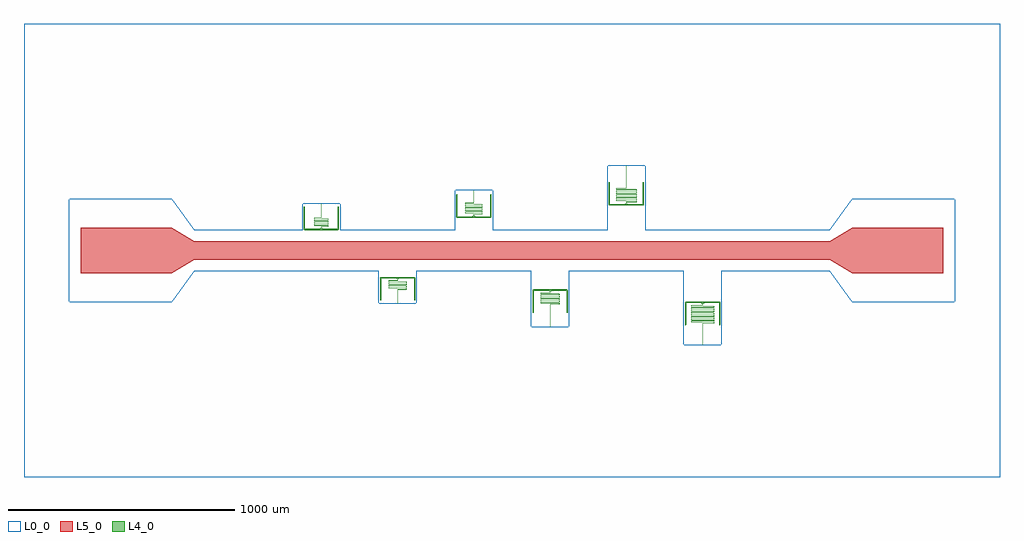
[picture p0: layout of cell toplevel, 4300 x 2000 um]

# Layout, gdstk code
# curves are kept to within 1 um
import gdstk
lib = gdstk.Library(unit=1e-6, precision=1e-09)
def P(c, l, *ps):  # polygons
    for p in ps: c.add(gdstk.Polygon(p, *l))
L0_0 = (0, 0)
L4_0 = (4, 0)
L5_0 = (5, 0)

toplevel = lib.new_cell('toplevel')
P(toplevel, L0_0, [(2150,1000),(-2150,1000),(-2150,-225),(-1950,-225),(-1950,225),(-1500,225),(-1400,90),(-922.5,90),(-922.5,205),(-757.5,205),(-757.5,90),(-250.5,90),(-250.5,264.4),(-85.5,264.4),(-85.5,90),(421.5,90),(421.5,373.8),(586.5,373.8),(586.5,90),(1400,90),(1500,225),(1950,225),(1950,-225),(1500,-225),(1400,-90),(922.5,-90),(922.5,-416),(757.5,-416),(757.5,-90),(250.5,-90),(250.5,-336.6),(85.5,-336.6),(85.5,-90),(-421.5,-90),(-421.5,-232.2),(-586.5,-232.2),(-586.5,-90),(-1400,-90),(-1500,-225),(-2150,-225),(-2150,-1000),(2150,-1000)])
P(toplevel, L4_0, [(-839.7,103.825),(-839.566,104.436),(-839.02,104.599),(-809.78,104.61),(-808.933,105.03),(-808.7,106.001),(-808.75,109.368),(-809.13,109.967),(-809.828,110.193),(-869.888,110.2),(-870.646,110.505),(-870.689,114.097),(-870.127,114.595),(-809.923,114.602),(-808.79,115.301),(-808.738,119.316),(-809.1,119.944),(-809.81,120.192),(-869.888,120.2),(-870.644,120.498),(-870.682,124.151),(-870.145,124.594),(-809.946,124.601),(-808.797,125.281),(-808.733,129.29),(-809.058,129.908),(-809.816,130.192),(-869.95,130.2),(-870.64,130.489),(-870.687,134.11),(-870.15,134.593),(-810.008,134.6),(-808.81,135.248),(-808.736,139.303),(-809.082,139.929),(-809.786,140.19),(-869.95,140.2),(-870.632,140.47),(-870.691,144.076),(-870.247,144.582),(-840.963,144.601),(-839.834,145.196),(-839.7,204.9),(-840.3,204.9),(-840.375,145.455),(-841.02,145.2),(-870.364,145.171),(-871.272,144.258),(-871.178,140.222),(-869.986,139.6),(-809.85,139.593),(-809.312,139.106),(-809.364,135.479),(-810.05,135.2),(-870.214,135.19),(-870.918,134.929),(-871.263,134.309),(-871.198,130.268),(-870.763,129.764),(-869.992,129.6),(-809.864,129.594),(-809.31,129.089),(-809.365,125.476),(-809.985,125.201),(-870.19,125.192),(-870.918,124.929),(-871.264,124.303),(-871.208,120.294),(-870.077,119.602),(-809.855,119.594),(-809.309,119.076),(-809.356,115.498),(-810.112,115.2),(-870.22,115.189),(-870.912,114.934),(-871.265,114.296),(-871.232,110.367),(-870.814,109.794),(-870.077,109.602),(-809.824,109.591),(-809.315,109.127),(-809.308,105.728),(-809.985,105.201),(-839.481,105.146),(-840.278,104.22),(-840.3,99.9),(-850,95),(-910.62,95),(-912.27,95.279),(-912.5,96.9),(-912.502,190.109),(-912.952,191.434),(-914.043,192.31),(-915.326,192.479),(-916.607,191.915),(-917.266,191.056),(-917.5,190),(-917.475,95.954),(-916.915,93.4),(-915.563,91.507),(-913.447,90.346),(-910.644,90),(-769.356,90),(-766.888,90.253),(-764.934,91.118),(-763.131,93.296),(-762.504,96.513),(-762.5,190),(-763.085,191.607),(-764.353,192.415),(-765.752,192.384),(-766.983,191.522),(-767.498,190.109),(-767.5,96.88),(-767.751,95.251),(-769.38,95),(-830,95),(-839.7,99.9)],
  [(-504.302,-131.177),(-504.443,-131.646),(-504.919,-131.797),(-542.377,-131.831),(-543.085,-132.255),(-543.3,-133.158),(-543.267,-136.49),(-542.965,-137.087),(-542.39,-137.367),(-466.01,-137.4),(-465.432,-137.566),(-465.3,-138.222),(-465.32,-141.359),(-465.891,-141.796),(-541.981,-141.8),(-542.75,-141.957),(-543.19,-142.448),(-543.261,-146.516),(-542.9,-147.144),(-542.172,-147.393),(-466.06,-147.4),(-465.367,-147.673),(-465.313,-151.314),(-465.877,-151.795),(-541.975,-151.8),(-542.73,-151.947),(-543.172,-152.409),(-543.263,-156.509),(-542.906,-157.139),(-542.172,-157.393),(-466.06,-157.4),(-465.376,-157.652),(-465.313,-161.31),(-465.877,-161.795),(-541.97,-161.8),(-543.15,-162.363),(-543.265,-166.496),(-542.912,-167.134),(-542.178,-167.393),(-466.065,-167.4),(-465.388,-167.629),(-465.309,-171.28),(-465.79,-171.787),(-503.003,-171.8),(-504.117,-172.305),(-504.3,-232.1),(-503.7,-232.1),(-503.606,-172.618),(-502.96,-172.4),(-465.693,-172.38),(-465.041,-172.092),(-464.728,-171.458),(-464.864,-167.337),(-466.03,-166.8),(-542.123,-166.795),(-542.687,-166.31),(-542.618,-162.64),(-541.935,-162.4),(-465.828,-162.393),(-465.093,-162.139),(-464.736,-161.503),(-464.837,-157.389),(-466.025,-156.8),(-542.123,-156.795),(-542.687,-156.31),(-542.628,-152.661),(-541.94,-152.4),(-465.828,-152.393),(-465.099,-152.144),(-464.738,-151.516),(-464.816,-147.435),(-465.263,-146.95),(-466.025,-146.8),(-542.123,-146.795),(-542.687,-146.314),(-542.636,-142.679),(-541.94,-142.4),(-465.852,-142.395),(-465.136,-142.172),(-464.736,-141.503),(-464.8,-137.475),(-465.218,-136.975),(-465.969,-136.801),(-542.167,-136.792),(-542.685,-136.327),(-542.694,-132.955),(-542.548,-132.544),(-542.077,-132.402),(-504.584,-132.362),(-503.986,-132.036),(-503.726,-131.445),(-503.7,-127.1),(-494,-122.2),(-433.38,-122.2),(-431.73,-122.479),(-431.5,-124.08),(-431.498,-217.309),(-431.048,-218.634),(-429.957,-219.51),(-428.674,-219.679),(-427.393,-219.115),(-426.734,-218.256),(-426.5,-217.2),(-426.525,-123.154),(-427.1,-120.565),(-428.437,-118.707),(-430.552,-117.546),(-433.356,-117.2),(-574.644,-117.2),(-577.112,-117.453),(-579.066,-118.318),(-580.853,-120.461),(-581.496,-123.713),(-581.5,-217.2),(-580.915,-218.807),(-579.647,-219.615),(-578.248,-219.584),(-577.017,-218.722),(-576.502,-217.309),(-576.5,-124.08),(-576.254,-122.457),(-574.62,-122.2),(-514,-122.2),(-504.3,-127.1)],
  [(-167.7,158.23),(-167.559,158.844),(-167.005,158.999),(-131.316,159.007),(-130.461,159.393),(-130.2,160.401),(-130.257,163.794),(-130.624,164.362),(-131.358,164.595),(-204.388,164.6),(-205.148,164.912),(-205.184,168.539),(-204.654,168.993),(-131.463,169.001),(-130.718,169.175),(-130.3,169.675),(-130.236,173.703),(-130.57,174.319),(-131.346,174.594),(-204.445,174.6),(-205.139,174.886),(-205.187,178.514),(-204.627,178.995),(-131.519,179),(-130.75,179.157),(-130.31,179.648),(-130.238,183.716),(-130.593,184.339),(-131.322,184.593),(-204.44,184.6),(-205.132,184.87),(-205.187,188.51),(-204.627,188.995),(-131.525,189),(-130.776,189.143),(-130.331,189.602),(-130.236,193.703),(-130.593,194.339),(-131.322,194.593),(-204.44,194.6),(-205.121,194.846),(-205.187,198.51),(-204.627,198.995),(-131.53,199),(-130.357,199.55),(-130.235,203.696),(-130.587,204.334),(-131.316,204.592),(-204.435,204.6),(-205.109,204.824),(-205.191,208.476),(-204.714,208.987),(-168.991,209.001),(-167.89,209.492),(-167.7,264.3),(-168.3,264.3),(-168.399,209.811),(-169.04,209.6),(-204.82,209.578),(-205.47,209.282),(-205.774,208.645),(-205.629,204.524),(-204.47,204),(-131.373,203.995),(-130.812,203.506),(-130.885,199.835),(-131.56,199.6),(-204.684,199.592),(-205.412,199.334),(-205.765,198.696),(-205.657,194.576),(-205.211,194.137),(-204.475,194),(-131.373,193.995),(-130.813,193.51),(-130.873,189.858),(-131.56,189.6),(-204.678,189.593),(-205.406,189.339),(-205.763,188.709),(-205.681,184.628),(-205.237,184.15),(-204.481,184),(-131.373,183.995),(-130.813,183.514),(-130.864,179.879),(-131.555,179.6),(-204.678,179.593),(-205.406,179.339),(-205.762,178.716),(-205.695,174.661),(-205.256,174.16),(-204.481,174),(-131.386,173.996),(-130.819,173.555),(-130.855,169.902),(-131.505,169.6),(-204.653,169.594),(-205.394,169.348),(-205.765,168.696),(-205.708,164.694),(-205.224,164.143),(-204.388,164),(-131.346,163.993),(-130.944,163.848),(-130.801,163.344),(-130.808,160.128),(-131.172,159.634),(-167.428,159.559),(-168.019,159.23),(-168.275,158.639),(-168.3,154.3),(-178,149.4),(-238.62,149.4),(-240.243,149.646),(-240.5,151.3),(-240.502,244.509),(-240.952,245.834),(-242.043,246.71),(-243.326,246.879),(-244.607,246.315),(-245.266,245.456),(-245.5,244.4),(-245.475,150.354),(-244.915,147.8),(-243.563,145.907),(-241.447,144.746),(-238.644,144.4),(-97.356,144.4),(-94.888,144.653),(-92.934,145.518),(-91.923,146.434),(-91.131,147.696),(-90.503,150.963),(-90.5,244.4),(-91.085,246.007),(-92.353,246.815),(-93.752,246.784),(-94.983,245.922),(-95.498,244.509),(-95.5,151.28),(-95.751,149.651),(-97.38,149.4),(-158,149.4),(-167.7,154.3)],
  [(167.697,-185.577),(167.527,-186.074),(166.899,-186.2),(127.699,-186.219),(126.961,-186.593),(126.701,-187.48),(126.729,-190.864),(127.007,-191.459),(127.493,-191.74),(208.091,-191.803),(208.544,-191.941),(208.695,-192.368),(208.695,-195.623),(208.427,-196.133),(127.876,-196.204),(127.082,-196.471),(126.715,-197.23),(126.725,-200.839),(127.296,-201.666),(208.114,-201.804),(208.548,-201.944),(208.689,-202.307),(208.494,-206.098),(127.876,-206.204),(127.058,-206.491),(126.717,-207.218),(126.712,-210.738),(127.142,-211.576),(128.111,-211.8),(208.114,-211.804),(208.688,-212.298),(208.53,-216.072),(127.882,-216.204),(127.099,-216.456),(126.731,-217.123),(126.704,-220.624),(127.013,-221.465),(128.111,-221.8),(208.109,-221.804),(208.687,-222.286),(208.559,-226.044),(127.888,-226.203),(127.148,-226.42),(126.75,-227.032),(126.7,-230.497),(127.013,-231.465),(127.957,-231.799),(207.94,-231.8),(208.644,-232.098),(208.689,-235.693),(208.206,-236.188),(168.98,-236.201),(168.231,-236.368),(167.8,-236.875),(167.7,-336.5),(168.3,-336.5),(168.359,-237.092),(169.03,-236.8),(208.294,-236.781),(208.948,-236.503),(209.267,-235.89),(209.205,-231.888),(208.763,-231.364),(207.981,-231.2),(127.882,-231.195),(127.314,-230.718),(127.353,-227.108),(128.055,-226.8),(208.165,-226.794),(208.894,-226.548),(209.259,-225.928),(209.217,-221.921),(208.782,-221.375),(207.981,-221.2),(127.882,-221.195),(127.314,-220.723),(127.348,-217.122),(128.055,-216.8),(208.165,-216.794),(208.894,-216.548),(209.257,-215.935),(209.226,-211.947),(208.788,-211.379),(207.981,-211.2),(127.882,-211.196),(127.314,-210.723),(127.344,-207.136),(128.055,-206.8),(208.165,-206.794),(208.894,-206.548),(209.257,-205.935),(209.234,-201.973),(208.801,-201.387),(207.986,-201.2),(127.882,-201.196),(127.315,-200.727),(127.341,-197.146),(128.055,-196.8),(208.13,-196.796),(208.882,-196.558),(209.257,-195.935),(209.24,-191.993),(208.858,-191.424),(208.031,-191.201),(127.868,-191.195),(127.313,-190.714),(127.378,-187.049),(128.106,-186.8),(167.396,-186.765),(168.008,-186.442),(168.273,-185.851),(168.3,-181.5),(178,-176.6),(238.62,-176.6),(240.243,-176.846),(240.5,-178.5),(240.502,-271.709),(240.734,-272.656),(241.311,-273.443),(242.145,-273.949),(243.109,-274.098),(244.768,-273.368),(245.498,-271.709),(245.5,-178.48),(245.154,-175.652),(243.964,-173.505),(242.031,-172.156),(239.327,-171.614),(97.356,-171.6),(95.02,-171.821),(93.07,-172.627),(91.923,-173.634),(91.147,-174.861),(90.505,-178.062),(90.5,-271.6),(90.69,-272.557),(91.311,-273.443),(92.248,-273.984),(93.218,-274.09),(94.768,-273.368),(95.498,-271.709),(95.5,-178.48),(95.751,-176.851),(97.38,-176.6),(158,-176.6),(167.7,-181.5)],
  [(504.3,212.63),(504.421,213.221),(504.933,213.398),(548.332,213.424),(549.058,213.818),(549.299,214.68),(549.269,218.077),(549.024,218.624),(548.474,218.948),(459.919,219.003),(459.458,219.139),(459.306,219.564),(459.305,222.823),(459.573,223.333),(548.118,223.404),(548.948,223.697),(549.29,224.486),(549.274,228.045),(548.652,228.89),(459.886,229.004),(459.452,229.144),(459.311,229.503),(459.304,232.804),(459.508,233.299),(548.118,233.404),(548.936,233.686),(549.282,234.412),(549.287,237.945),(548.852,238.78),(547.888,239),(459.891,239.004),(459.458,239.139),(459.312,239.494),(459.472,243.274),(548.112,243.403),(548.894,243.652),(549.269,244.323),(549.288,247.938),(548.953,248.698),(547.888,249),(459.896,249.004),(459.464,249.133),(459.314,249.482),(459.443,253.246),(548.106,253.403),(548.912,253.666),(549.264,254.297),(549.296,257.824),(549.019,258.63),(547.888,259),(459.896,259.004),(459.47,259.128),(459.315,259.473),(459.416,263.214),(460.117,263.4),(548.106,263.403),(548.833,263.607),(549.241,264.2),(549.299,267.697),(548.987,268.665),(548.037,268.999),(460.065,269),(459.363,269.282),(459.311,272.893),(459.807,273.389),(503.008,273.401),(503.75,273.557),(504.184,274.035),(504.3,373.7),(503.7,373.7),(503.633,274.273),(502.96,274),(459.724,273.984),(459.058,273.708),(458.733,273.09),(458.808,269.055),(459.25,268.557),(460.03,268.4),(548.104,268.396),(548.528,268.274),(548.686,267.923),(548.641,264.292),(547.94,264),(459.846,263.994),(459.105,263.748),(458.741,263.128),(458.795,259.088),(459.237,258.564),(460.025,258.4),(548.109,258.396),(548.528,258.274),(548.686,257.923),(548.646,254.305),(547.94,254),(459.846,253.994),(459.105,253.748),(458.741,253.128),(458.785,249.114),(459.224,248.571),(460.025,248.4),(548.109,248.396),(548.528,248.274),(548.686,247.923),(548.651,244.318),(547.94,244),(459.852,243.995),(459.112,243.753),(458.743,243.135),(458.776,239.14),(459.211,238.579),(460.025,238.4),(548.109,238.396),(548.528,238.274),(548.685,237.927),(548.655,234.332),(547.94,234),(459.852,233.995),(459.112,233.753),(458.744,233.141),(458.768,229.167),(459.199,228.587),(460.019,228.4),(548.109,228.396),(548.528,228.274),(548.685,227.927),(548.657,224.339),(547.945,224),(459.882,223.996),(459.118,223.758),(458.743,223.135),(458.762,219.187),(459.186,218.594),(459.98,218.401),(548.063,218.398),(548.528,218.274),(548.686,217.918),(548.622,214.249),(547.894,214),(504.571,213.959),(504.002,213.653),(503.728,213.058),(503.7,208.7),(494,203.8),(433.38,203.8),(431.765,204.04),(431.5,205.68),(431.498,298.909),(431.266,299.856),(430.689,300.643),(429.855,301.149),(428.891,301.298),(427.943,301.066),(427.232,300.568),(426.69,299.757),(426.502,298.909),(426.5,205.656),(426.846,202.852),(428.007,200.737),(429.935,199.37),(432.673,198.814),(574.644,198.8),(576.98,199.021),(578.895,199.805),(579.964,200.705),(580.82,201.992),(581.321,203.515),(581.493,205.185),(581.5,298.8),(581.31,299.757),(580.689,300.643),(579.752,301.184),(578.782,301.29),(577.232,300.568),(576.69,299.757),(576.502,298.909),(576.5,205.68),(576.254,204.057),(574.62,203.8),(514,203.8),(504.3,208.7)],
  [(839.697,-239.981),(839.548,-240.455),(839.058,-240.598),(790.693,-240.62),(789.956,-240.999),(789.701,-241.863),(789.731,-245.277),(790.029,-245.882),(790.604,-246.165),(889.091,-246.203),(889.544,-246.341),(889.695,-246.768),(889.692,-250.063),(889.375,-250.553),(790.894,-250.603),(790.029,-250.918),(789.712,-251.668),(789.726,-255.245),(789.961,-255.806),(790.388,-256.105),(889.109,-256.204),(889.546,-256.343),(889.697,-256.805),(889.696,-260.009),(889.445,-260.525),(790.888,-260.603),(790.064,-260.886),(789.718,-261.612),(789.713,-265.145),(790.192,-266.01),(791.117,-266.2),(889.109,-266.204),(889.542,-266.339),(889.688,-266.694),(889.696,-270.009),(889.523,-270.477),(790.894,-270.603),(790.07,-270.881),(789.72,-271.593),(789.713,-275.145),(790.082,-275.929),(791.117,-276.2),(889.104,-276.204),(889.538,-276.335),(889.687,-276.686),(889.556,-280.448),(888.883,-280.6),(790.894,-280.603),(790.082,-280.871),(789.723,-281.574),(789.704,-285.024),(790.018,-285.87),(791.117,-286.2),(889.1,-286.204),(889.532,-286.33),(889.686,-286.677),(889.556,-290.448),(888.883,-290.6),(790.9,-290.603),(790.1,-290.856),(789.727,-291.549),(789.704,-295.024),(789.956,-295.8),(790.44,-296.124),(791.117,-296.2),(889.095,-296.203),(889.523,-296.323),(889.69,-296.711),(889.582,-300.416),(888.883,-300.6),(790.792,-300.609),(790.047,-300.902),(789.73,-301.529),(789.704,-305.024),(789.928,-305.764),(790.394,-306.108),(791.117,-306.2),(889.095,-306.203),(889.546,-306.343),(889.689,-306.707),(889.607,-310.379),(888.883,-310.6),(790.911,-310.602),(790.199,-310.787),(789.772,-311.354),(789.7,-314.892),(790.013,-315.865),(790.974,-316.199),(888.93,-316.2),(889.625,-316.455),(889.689,-320.093),(889.548,-320.455),(889.176,-320.591),(841.003,-320.6),(840.283,-320.74),(839.843,-321.176),(839.7,-321.979),(839.7,-415.9),(840.3,-415.9),(840.379,-321.446),(841.045,-321.2),(889.251,-321.187),(889.936,-320.914),(890.268,-320.283),(890.166,-316.196),(889.717,-315.74),(888.964,-315.6),(790.905,-315.597),(790.472,-315.474),(790.314,-315.118),(790.371,-311.464),(791.065,-311.2),(889.136,-311.195),(889.888,-310.953),(890.26,-310.322),(890.181,-306.228),(889.73,-305.747),(888.964,-305.6),(790.905,-305.597),(790.475,-305.475),(790.314,-305.123),(790.364,-301.479),(791.065,-301.2),(889.136,-301.195),(889.888,-300.953),(890.259,-300.328),(890.195,-296.261),(889.75,-295.757),(888.97,-295.6),(790.905,-295.597),(790.475,-295.475),(790.315,-295.127),(790.358,-291.495),(791.065,-291.2),(889.136,-291.195),(889.882,-290.958),(890.257,-290.335),(890.208,-286.294),(889.763,-285.764),(888.97,-285.6),(790.905,-285.597),(790.475,-285.475),(790.315,-285.127),(790.353,-281.508),(791.065,-281.2),(889.136,-281.195),(889.882,-280.958),(890.257,-280.335),(890.215,-276.314),(889.776,-275.771),(888.97,-275.6),(790.905,-275.597),(790.475,-275.475),(790.315,-275.127),(790.349,-271.518),(790.567,-271.269),(791.06,-271.2),(889.136,-271.195),(889.882,-270.958),(890.256,-270.341),(890.224,-266.34),(889.782,-265.775),(888.97,-265.6),(790.905,-265.597),(790.477,-265.477),(790.315,-265.131),(790.345,-261.532),(790.561,-261.272),(791.06,-261.2),(889.136,-261.195),(889.882,-260.958),(890.256,-260.341),(890.23,-256.36),(889.795,-255.783),(888.975,-255.6),(790.914,-255.597),(790.488,-255.486),(790.32,-255.163),(790.345,-251.532),(790.558,-251.273),(791.025,-251.2),(889.196,-251.192),(889.882,-250.958),(890.256,-250.341),(890.243,-246.406),(889.845,-245.815),(889.031,-245.601),(790.937,-245.598),(790.47,-245.472),(790.314,-245.118),(790.359,-241.492),(791.106,-241.2),(839.403,-241.164),(839.987,-240.865),(840.271,-240.264),(840.3,-235.9),(850,-231),(910.62,-231),(912.218,-231.228),(912.5,-232.9),(912.502,-326.109),(912.734,-327.056),(913.311,-327.843),(914.145,-328.349),(915.109,-328.498),(915.957,-328.31),(916.768,-327.768),(917.31,-326.957),(917.498,-326.109),(917.5,-232.88),(917.154,-230.052),(916.678,-228.915),(915.964,-227.905),(914.031,-226.556),(911.327,-226.014),(769.356,-226),(767.02,-226.221),(765.07,-227.027),(763.923,-228.034),(763.147,-229.261),(762.679,-230.715),(762.505,-232.462),(762.5,-326),(762.69,-326.957),(763.311,-327.843),(764.248,-328.384),(765.218,-328.49),(766.056,-328.266),(766.768,-327.768),(767.31,-326.957),(767.498,-326.109),(767.5,-232.88),(767.751,-231.251),(769.38,-231),(830,-231),(839.7,-235.9)])
P(toplevel, L5_0, [(-1400,40),(-1500,100),(-1900,100),(-1900,-100),(-1500,-100),(-1400,-40),(1400,-40),(1500,-100),(1900,-100),(1900,100),(1500,100),(1400,40)])

lib.write_gds('toplevel.gds')
